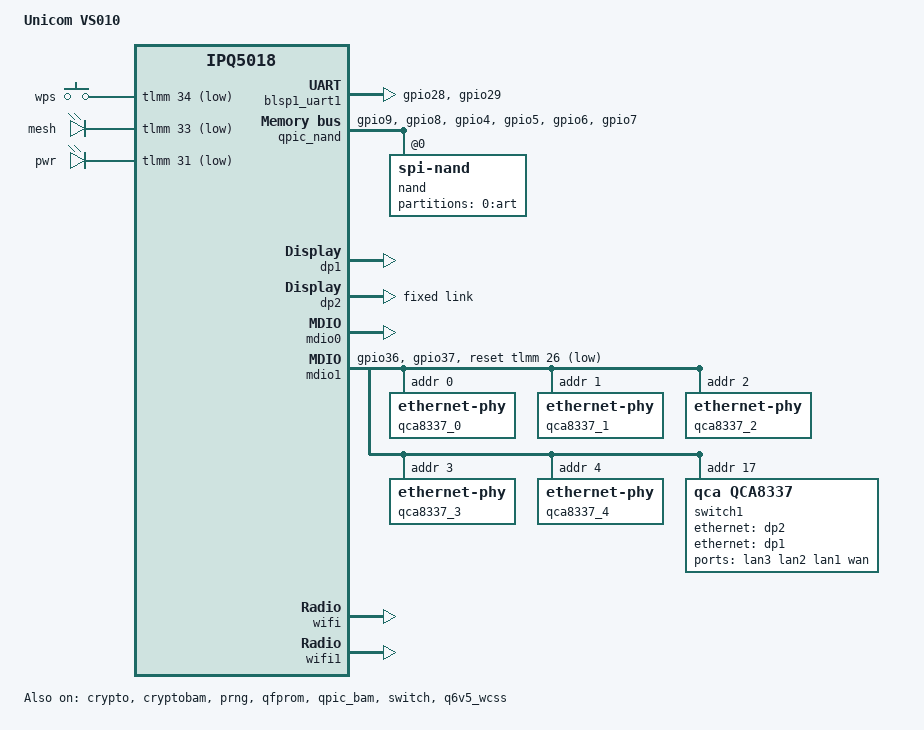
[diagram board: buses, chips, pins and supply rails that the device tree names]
// SPDX-License-Identifier: GPL-2.0-or-later OR MIT
/*
 * VS010 (中国联通 CUCC) Device Tree Source —— 新内核 6.12 融合版 · 第 44 次校正
 *
 * 骨架：qosmio/openwrt-ipq @ 25.12-nss 的 ipq5018-pz-l8.dts
 *       （只借 6.12 主线 ath11k/DSA 绑定：&wifi/&wifi1、
 *        qcom,ath11k-calibration-variant、QCA8337 ports 写法）
 *       ——【不】继承它的 GPIO / LED / 端口 label。
 *
 * 硬件真值（第 44 次）：用户上传的 docs/oem-dts/vs010.dtb（45056 B，
 *   DTB v17，原厂闭源固件运行态 /sys/firmware/fdt 导出）逐节点解析：
 *     model="CUCC VS010"  compatible="cucc,vs010" "qcom,ipq5018-ap-mp02.1" ...
 *     按键：仅 wps = GPIO34 / KEY_WPS_BUTTON(0x211) / debounce 60 ——【无 reset 键】
 *     LED ：mesh = GPIO33 低有效；pwr = GPIO31 低有效（默认 on）
 *     NAND：4bit/512（F5D01G41LB ESMT 系）
 *     dp1/dp2 local-mac = 58:99:a8:13:18:1b / 58:95:d8:13:28:2a
 *     0:ART @0x780000(1MiB)、0:TRAINING @0x880000、rootfs @0x900000
 *
 * 来源纠正：本仓库 fork 自 xiangye277/vs010-openwrt，而核查报告
 *   （docs/oem-dts/VS010与CMCC机型DTS资料核查报告.md 第三/五章）明确记录
 *   该版「GPIO 与 switch port 配置不正确」，作者本人在 issue #1 已否定。
 *   因此 GPIO/LED/ECC 一律以上面这份实机 FDT 为准，不再引用该版。
 *
 * 仍待实机核对的两处（本次【故意不改】，见 docs/板级真值-第44次.md）：
 *   1) QCA8337 端口排序：PZ-L8 是 PHY3=WAN；VS010 原厂 FDT 的
 *      switch_wan_bmp=0 / switch_lan_bmp=0x1e（四个口全 LAN），maxdarksol 版
 *      把直连 CPU 的 LAN3 对调成 WAN。maxdarksol 全文未取到，改错会网口全灭；
 *      由于 WAN+LAN 全在 br-lan，label 错位不影响桥接，刷后逐个试口即可。
 *   2) 5G bdf-addr：原厂 FDT 是 0x4d300000，主线 PZ-L8 骨架是 0x4d100000，
 *      属 5.4 闭源 cnss2 与 6.12 主线 ath11k 两套内存布局差异，禁止照抄。
 *
 * 不要用老仓库 vs010/ipq5018-vs010.dts（QSDK 5.4 wifi0/wifi1 写法）覆盖本文件。
 */

/dts-v1/;

#include "ipq5018.dtsi"
#include "ipq5018-ess.dtsi"
#include "ipq5018-qcn6122.dtsi"

#include <dt-bindings/gpio/gpio.h>
#include <dt-bindings/input/input.h>
#include <dt-bindings/leds/common.h>

/ {
	model = "Unicom VS010";
	compatible = "unicom,vs010", "qcom,ipq5018";

	aliases {
		serial0 = &blsp1_uart1;
		led-boot = &led_pwr;
		led-failsafe = &led_mesh;
		led-running = &led_pwr;
		led-upgrade = &led_mesh;
		label-mac-device = <&dp1>;
	};

	chosen {
		bootargs-append = " root=/dev/ubiblock0_1 swiotlb=1 coherent_pool=2M";
		stdout-path = "serial0:115200n8";
	};

	/*
	 * 按老仓库 NWRT /sys/firmware/fdt 实机真值修正（第 22 次校准）：
	 * VS010 实物只有 WPS 键 = GPIO34 / KEY_WPS_BUTTON(0x211)，没有 reset 键。
	 * 原 6.12 稿误把 GPIO33 配成 KEY_RESTART（实机 GPIO33 是 mesh 指示灯），会被常判按下，
	 * preinit 据此进 FAILSAFE（无 IP / 无无线 / 进不了 WEB）。整段删除复位键。
	 */
	keys {
		compatible = "gpio-keys";
		pinctrl-0 = <&button_pins>;
		pinctrl-names = "default";

		wps-button {
			label = "wps";
			gpios = <&tlmm 34 GPIO_ACTIVE_LOW>;
			linux,code = <0x211>;   /* KEY_WPS_BUTTON，写数值避免旧 input.h 缺宏 */
			debounce-interval = <60>;
		};
	};

	/* vs010.dtb 实机 /soc/leds：mesh(GPIO33) + pwr(GPIO31)，均低有效。
	 * 旧版沿用 PZ-L8 的 WAN 绿灯 GPIO35，与本机不符，第 44 次已替换。 */
	leds {
		compatible = "gpio-leds";
		pinctrl-0 = <&led_pins>;
		pinctrl-names = "default";

		led_mesh: led-0 {
			label = "mesh";
			gpios = <&tlmm 33 GPIO_ACTIVE_LOW>;
			default-state = "off";
		};

		led_pwr: led-1 {
			label = "pwr";
			gpios = <&tlmm 31 GPIO_ACTIVE_LOW>;
			default-state = "on";
		};
	};
};

&sleep_clk {
	clock-frequency = <32000>;
};

&xo_board_clk {
	clock-div = <4>;
	clock-mult = <1>;
};

&blsp1_uart1 {
	status = "okay";

	pinctrl-0 = <&serial_0_pins>;
	pinctrl-names = "default";
};

&crypto {
	status = "okay";
};

&cryptobam {
	status = "okay";
};

&prng {
	status = "okay";
};

&qfprom {
	status = "okay";
};

&qpic_bam {
	status = "okay";
};

&qpic_nand {
	pinctrl-0 = <&qpic_pins>;
	pinctrl-names = "default";
	status = "okay";

	nand@0 {
		compatible = "spi-nand";
		reg = <0>;
		nand-ecc-engine = <&qpic_nand>;
		/* vs010.dtb 实机 /soc/qpic-nand@79b0000/nandcs@0：4bit/512。
		 * F5D01G41LB(ESMT 系) 物理参数，与 RAX3000Q 的 8bit/512 不同。 */
		nand-ecc-strength = <4>;
		nand-ecc-step-size = <512>;
		nand-bus-width = <8>;

		partitions {
			compatible = "qcom,smem-part";

			partition-art {
				label = "0:art";
				read-only;

				nvmem-layout {
					compatible = "fixed-layout";
					#address-cells = <1>;
					#size-cells = <1>;

					// VS010 MAC layout: raw bytes at ART+0
					// eth0: D8:3D:CC:72:D5:43 @ offset 0x00
					// eth1: D8:3D:CC:72:D5:42 @ offset 0x06
					// vs010.dtb 实机 dp1/dp2 local-mac 作交叉：
					//   58:99:a8:13:18:1b / 58:95:d8:13:28:2a
					// 仍按 ART 0x0/0x6 取（第 39 次 ART 实证），不写死本机值
					macaddr_eth0: macaddr@0 {
						reg = <0x0 0x6>;
					};

					macaddr_eth1: macaddr@6 {
						reg = <0x6 0x6>;
					};
				};
			};
		};
	};
};

&switch {
	status = "okay";

	switch_mac_mode = <MAC_MODE_SGMII_CHANNEL0>;

	qcom,port_phyinfo {
		// MAC0 -> GE Phy --- MDI --- QCA8337 Phy4(Port5)
		port@1 {
			port_id = <1>;
			mdiobus = <&mdio0>;
			phy_address = <7>;
		};

		// MAC1 -> Uniphy --- SGMII --- QCA8337 SerDes(Port6)
		port@2 {
			port_id = <2>;
			mdiobus = <&mdio1>;
			forced-speed = <1000>;
			forced-duplex = <1>;
		};
	};
};

// MAC0 -> GE Phy
&dp1 {
	status = "okay";

	nvmem-cells = <&macaddr_eth0>;
	nvmem-cell-names = "mac-address";
};

// MAC1 -> SGMII
&dp2 {
	status = "okay";

	nvmem-cells = <&macaddr_eth1>;
	nvmem-cell-names = "mac-address";

	fixed-link {
		speed = <1000>;
		full-duplex;
	};
};

&mdio0 {
	status = "okay";
};

// MAC0 -> GE Phy -> QCA8337 Phy4
&ge_phy {
	qcom,dac-preset-short-cable;
};

&mdio1 {
	status = "okay";

	pinctrl-0 = <&mdio1_pins>;
	pinctrl-names = "default";
	reset-gpios = <&tlmm 26 GPIO_ACTIVE_LOW>;

	/*
	 * 第 44 次「待实机核对」：以下 label 沿用 PZ-L8（PHY3=WAN，
	 * PHY0/1/2=LAN3/2/1），而 VS010 原厂 FDT 是 switch_lan_bmp=0x1e
	 * （四口全 LAN）、switch_wan_bmp=0，maxdarksol 版把直连 CPU 的 LAN3
	 * 对调成 WAN。maxdarksol 全文未取到，改错会网口全灭 → 本次不改。
	 * 由于 WAN+LAN+2.4G+5G 都在 br-lan（哑 AP），label 错位不影响桥接，
	 * 刷后上级线插哪个口不通就逐个换；要彻底对齐请按
	 * docs/板级真值-第44次.md 上机取证后再改这一段。
	 */
	// QCA8337 Phy0 -> LAN3
	qca8337_0: ethernet-phy@0 {
		reg = <0>;
	};

	// QCA8337 Phy1 -> LAN2
	qca8337_1: ethernet-phy@1 {
		reg = <1>;
	};

	// QCA8337 Phy2 -> LAN1
	qca8337_2: ethernet-phy@2 {
		reg = <2>;
	};

	// QCA8337 Phy3 -> WAN
	qca8337_3: ethernet-phy@3 {
		reg = <3>;
	};

	// QCA8337 Phy4 -> IPQ5018 GE Phy
	qca8337_4: ethernet-phy@4 {
		reg = <4>;
	};

	// QCA8337 switch
	switch1: ethernet-switch@17 {
		compatible = "qca,qca8337";
		reg = <17>;
		#address-cells = <1>;
		#size-cells = <0>;

		ports {
			#address-cells = <1>;
			#size-cells = <0>;

			port@0 {
				reg = <0>;
				phy-mode = "sgmii";
				ethernet = <&dp2>;
				qca,sgmii-enable-pll;

				fixed-link {
					speed = <1000>;
					full-duplex;
				};
			};

			port@1 {
				reg = <1>;
				label = "lan3";
				phy-handle = <&qca8337_0>;
			};

			port@2 {
				reg = <2>;
				label = "lan2";
				phy-handle = <&qca8337_1>;
			};

			port@3 {
				reg = <3>;
				label = "lan1";
				phy-handle = <&qca8337_2>;
			};

			port@4 {
				reg = <4>;
				label = "wan";
				phy-handle = <&qca8337_3>;
			};

			port@5 {
				reg = <5>;
				phy-handle = <&qca8337_4>;
				phy-mode = "gmii";
				ethernet = <&dp1>;
			};
		};
	};
};

&tlmm {
	button_pins: button-state {
		/* VS010 实机 WPS 键 = GPIO34；gpio33 悬空，绝不能配置成按键 */
		button-pins {
			pins = "gpio34";
			function = "gpio";
			drive-strength = <8>;
			bias-pull-up;
		};
	};

	led_pins: led-state {
		/* mesh GPIO33 + pwr GPIO31（vs010.dtb 实机；旧 gpio35 是 PZ-L8 的 WAN 灯） */
		pins = "gpio33", "gpio31";
		function = "gpio";
		drive-strength = <8>;
		bias-pull-down;
	};

	mdio1_pins: mdio-state {
		mdc-pins {
			pins = "gpio36";
			function = "mdc";
			drive-strength = <8>;
			bias-pull-up;
		};

		mdio-pins {
			pins = "gpio37";
			function = "mdio";
			drive-strength = <8>;
			bias-pull-up;
		};
	};

	qpic_pins: qpic-state {
		clock-pins {
			pins = "gpio9";
			function = "qspi_clk";
			drive-strength = <8>;
			bias-disable;
		};

		cs-pins {
			pins = "gpio8";
			function = "qspi_cs";
			drive-strength = <8>;
			bias-disable;
		};

		data-pins {
			pins = "gpio4", "gpio5", "gpio6", "gpio7";
			function = "qspi_data";
			drive-strength = <8>;
			bias-disable;
		};
	};

	serial_0_pins: uart0-state {
		pins = "gpio28", "gpio29";
		function = "blsp0_uart1";
		drive-strength = <8>;
		bias-disable;
	};

	switch_reset_pins: switch-reset-state {
		pins = "gpio26";
		function = "gpio";
		drive-strength = <8>;
		bias-pull-down;
	};
};

&q6v5_wcss {
	status = "okay";
};

&wifi {
	// IPQ5018 2.4G
	qcom,rproc = <&q6_wcss_pd1>;
	qcom,ath11k-calibration-variant = "Unicom-VS010";
	qcom,ath11k-fw-memory-mode = <1>;
	qcom,bdf-addr = <0x4c400000>;

	ieee80211-freq-limit = <2400000 2483000>;

	status = "okay";
};

&wifi1 {
	// QCN6102 5G
	qcom,rproc = <&q6_wcss_pd2>;
	qcom,userpd-subsys-name = "q6v5_wcss_userpd2";
	qcom,ath11k-calibration-variant = "Unicom-VS010";
	qcom,ath11k-fw-memory-mode = <1>;
	/* vs010.dtb 原厂 FDT 的 5G bdf-addr 是 0x4d300000；这里保留主线
	 * PZ-L8 骨架的 0x4d100000（6.12 ath11k 内存布局），禁止照抄闭源值 */
	qcom,bdf-addr = <0x4d100000>;
	qcom,m3-dump-addr = <0x4df00000>;

	ieee80211-freq-limit = <5150000 5730000>;

	status = "okay";
};
